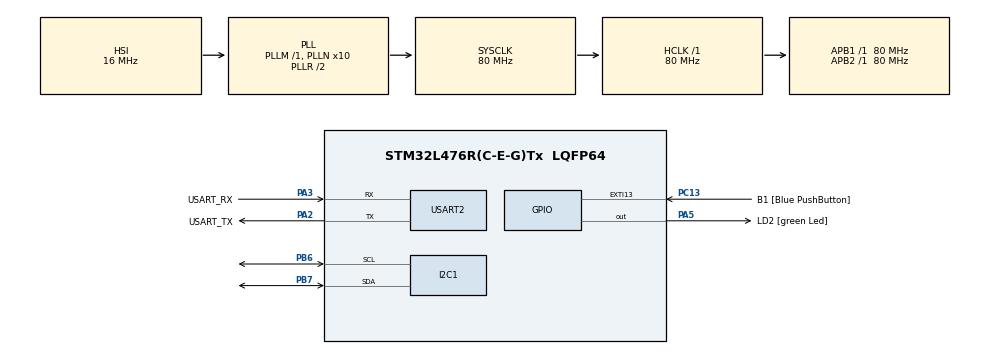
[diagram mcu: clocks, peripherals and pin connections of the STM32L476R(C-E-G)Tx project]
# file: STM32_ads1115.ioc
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I2C1.Timing=0x10D19CE4
Mcu.Family=STM32L4
Mcu.Name=STM32L476R(C-E-G)Tx
Mcu.Package=LQFP64
NVIC.PriorityGroup=NVIC_PRIORITYGROUP_4
PA13\ (JTMS-SWDIO).GPIO_Label=TMS
PA13\ (JTMS-SWDIO).Mode=Serial_Wire
PA13\ (JTMS-SWDIO).Signal=SYS_JTMS-SWDIO
PA14\ (JTCK-SWCLK).GPIO_Label=TCK
PA14\ (JTCK-SWCLK).Mode=Serial_Wire
PA14\ (JTCK-SWCLK).Signal=SYS_JTCK-SWCLK
PA2.GPIO_Label=USART_TX
PA2.GPIO_Mode=GPIO_MODE_AF_PP
PA2.GPIO_PuPd=GPIO_NOPULL
PA2.GPIO_Speed=GPIO_SPEED_FREQ_VERY_HIGH
PA2.Mode=Asynchronous
PA2.Signal=USART2_TX
PA3.GPIO_Label=USART_RX
PA3.GPIO_Mode=GPIO_MODE_AF_PP
PA3.GPIO_PuPd=GPIO_NOPULL
PA3.GPIO_Speed=GPIO_SPEED_FREQ_VERY_HIGH
PA3.Mode=Asynchronous
PA3.Signal=USART2_RX
PA5.GPIO_Label=LD2 [green Led]
PA5.GPIO_ModeDefaultOutputPP=GPIO_MODE_OUTPUT_PP
PA5.GPIO_PuPd=GPIO_NOPULL
PA5.GPIO_Speed=GPIO_SPEED_FREQ_LOW
PA5.Signal=GPIO_Output
PB3\ (JTDO-TRACESWO).GPIO_Label=SWO
PB3\ (JTDO-TRACESWO).Signal=SYS_JTDO-SWO
PB6.Mode=I2C
PB6.Signal=I2C1_SCL
PB7.Mode=I2C
PB7.Signal=I2C1_SDA
PC13.GPIO_Label=B1 [Blue PushButton]
PC13.GPIO_ModeDefaultEXTI=GPIO_MODE_IT_FALLING
PC13.GPIO_PuPd=GPIO_NOPULL
PC13.Signal=GPXTI13
PC14-OSC32_IN\ (PC14).Mode=LSE-External-Oscillator
PC14-OSC32_IN\ (PC14).Signal=RCC_OSC32_IN
PC15-OSC32_OUT\ (PC15).Mode=LSE-External-Oscillator
PC15-OSC32_OUT\ (PC15).Signal=RCC_OSC32_OUT
PH0-OSC_IN\ (PH0).Signal=RCC_OSC_IN
PH1-OSC_OUT\ (PH1).Signal=RCC_OSC_OUT
ProjectManager.HeapSize=0x200
ProjectManager.StackSize=0x400
ProjectManager.TargetToolchain=STM32CubeIDE
RCC.ADCFreq_Value=64000000
RCC.AHBFreq_Value=80000000
RCC.APB1Freq_Value=80000000
RCC.APB1TimFreq_Value=80000000
RCC.APB2Freq_Value=80000000
RCC.APB2TimFreq_Value=80000000
RCC.CortexFreq_Value=80000000
RCC.HCLKFreq_Value=80000000
RCC.HSE_VALUE=8000000
RCC.HSI_VALUE=16000000
RCC.MSI_VALUE=4000000
RCC.PLLN=10
RCC.PLLSourceVirtual=RCC_PLLSOURCE_HSI
RCC.PREFETCH_ENABLE=1
RCC.SYSCLKFreq_VALUE=80000000
RCC.SYSCLKSource=RCC_SYSCLKSOURCE_PLLCLK
RCC.USBFreq_Value=64000000
RCC.VCOOutputFreq_Value=160000000
USART2.VirtualMode-Asynchronous=VM_ASYNC
board=NUCLEO-L476RG

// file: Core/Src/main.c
/* USER CODE BEGIN Header */
/**
  ******************************************************************************
  * @file           : main.c
  * @brief          : Main program body
  ******************************************************************************
  * @attention
  *
  * Copyright (c) 2026 STMicroelectronics.
  * All rights reserved.
  *
  * This software is licensed under terms that can be found in the LICENSE file
  * in the root directory of this software component.
  * If no LICENSE file comes with this software, it is provided AS-IS.
  *
  ******************************************************************************
  */
/* USER CODE END Header */
#include "main.h"

/* USER CODE BEGIN Includes */
#include "ads1115.h"
#include <stdio.h>
/* USER CODE END Includes */

I2C_HandleTypeDef hi2c1;

UART_HandleTypeDef huart2;

/* USER CODE BEGIN PV */
static const uint16_t channels[] = {
    ADS1115_MUX_SINGLE_0,
    ADS1115_MUX_SINGLE_1,
    ADS1115_MUX_SINGLE_2,
    ADS1115_MUX_SINGLE_3,
};

static const char *channel_names[] = {
    "AIN0", "AIN1", "AIN2", "AIN3",
};

#define NUM_CHANNELS  (sizeof(channels) / sizeof(channels[0]))
/* USER CODE END PV */

void SystemClock_Config(void);
static void MX_GPIO_Init(void);
static void MX_I2C1_Init(void);
static void MX_USART2_UART_Init(void);

/* USER CODE BEGIN 0 */

/* Printf retargeting over UART2 */
int _write(int file, char *ptr, int len){
    HAL_UART_Transmit(&huart2, (uint8_t *)ptr, len, HAL_MAX_DELAY);
    return len;
}

/* USER CODE END 0 */

int main(void)
{

  /* MCU Configuration--------------------------------------------------------*/

  /* Reset of all peripherals, Initializes the Flash interface and the Systick. */
  HAL_Init();

  /* Configure the system clock */
  SystemClock_Config();

  /* Initialize all configured peripherals */
  MX_GPIO_Init();
  MX_I2C1_Init();
  MX_USART2_UART_Init();

  /* USER CODE BEGIN 2 */

  /* ---- ADS1115 Configuration ---- */
	ADS1115_Config cfg = {
		.mux       = ADS1115_MUX_SINGLE_0,
		.pga       = ADS1115_PGA_4_096V,
		.mode      = ADS1115_MODE_SINGLE,
		.dr        = ADS1115_DR_128SPS,
		.comp_mode = ADS1115_COMP_MODE_TRAD,
		.comp_pol  = ADS1115_COMP_POL_LOW,
		.comp_lat  = ADS1115_COMP_LAT_OFF,
		.comp_que  = ADS1115_COMP_QUE_DISABLE,
	};

	uint16_t addr = ADS1115_ADDR_GND;

	printf("\r\n--- ADS1115 Continuous Read Test ---\r\n");
	printf("PGA: +/-4.096V | Data Rate: 128 SPS\r\n\r\n");

	/* Verify device is present */
	if (HAL_I2C_IsDeviceReady(&hi2c1, addr, 3, 100) != HAL_OK) {
	  printf("ERROR: ADS1115 not found at 0x%02X\r\n", addr >> 1);
	  while (1);
	}
	printf("ADS1115 found at 0x%02X\r\n\r\n", addr >> 1);

	HAL_StatusTypeDef status;
	int16_t raw;
	float mv;

  /* USER CODE END 2 */

  /* Infinite loop */
  /* USER CODE BEGIN WHILE */
  while (1){
	for (uint8_t ch = 0; ch < NUM_CHANNELS; ch++) {
		/* Switch channel and trigger conversion */
		cfg.mux = channels[ch];
		status = ADS1115_ReadSingleShot(&hi2c1, addr, &cfg, &raw);

		if (status == HAL_OK) {
			mv = ADS1115_ConvertToMillivolts(raw, cfg.pga);
			printf("%s: raw=%6d  %8.3f mV\r\n", channel_names[ch], raw, mv);
		} else if (status == HAL_TIMEOUT) {
			printf("%s: TIMEOUT\r\n", channel_names[ch]);
		} else {
			printf("%s: I2C ERROR (0x%02X)\r\n", channel_names[ch], status);
		}
	}

		printf("----\r\n");
		HAL_Delay(500);
	  /* USER CODE END WHILE */

  }
}

void SystemClock_Config(void)
{
  RCC_OscInitTypeDef RCC_OscInitStruct = {0};
  RCC_ClkInitTypeDef RCC_ClkInitStruct = {0};

  /** Configure the main internal regulator output voltage
  */
  if (HAL_PWREx_ControlVoltageScaling(PWR_REGULATOR_VOLTAGE_SCALE1) != HAL_OK)
  {
    Error_Handler();
  }

  /** Initializes the RCC Oscillators according to the specified parameters
  * in the RCC_OscInitTypeDef structure.
  */
  RCC_OscInitStruct.OscillatorType = RCC_OSCILLATORTYPE_HSI;
  RCC_OscInitStruct.HSIState = RCC_HSI_ON;
  RCC_OscInitStruct.HSICalibrationValue = RCC_HSICALIBRATION_DEFAULT;
  RCC_OscInitStruct.PLL.PLLState = RCC_PLL_ON;
  RCC_OscInitStruct.PLL.PLLSource = RCC_PLLSOURCE_HSI;
  RCC_OscInitStruct.PLL.PLLM = 1;
  RCC_OscInitStruct.PLL.PLLN = 10;
  RCC_OscInitStruct.PLL.PLLP = RCC_PLLP_DIV7;
  RCC_OscInitStruct.PLL.PLLQ = RCC_PLLQ_DIV2;
  RCC_OscInitStruct.PLL.PLLR = RCC_PLLR_DIV2;
  if (HAL_RCC_OscConfig(&RCC_OscInitStruct) != HAL_OK)
  {
    Error_Handler();
  }

  /** Initializes the CPU, AHB and APB buses clocks
  */
  RCC_ClkInitStruct.ClockType = RCC_CLOCKTYPE_HCLK|RCC_CLOCKTYPE_SYSCLK
                              |RCC_CLOCKTYPE_PCLK1|RCC_CLOCKTYPE_PCLK2;
  RCC_ClkInitStruct.SYSCLKSource = RCC_SYSCLKSOURCE_PLLCLK;
  RCC_ClkInitStruct.AHBCLKDivider = RCC_SYSCLK_DIV1;
  RCC_ClkInitStruct.APB1CLKDivider = RCC_HCLK_DIV1;
  RCC_ClkInitStruct.APB2CLKDivider = RCC_HCLK_DIV1;

  if (HAL_RCC_ClockConfig(&RCC_ClkInitStruct, FLASH_LATENCY_4) != HAL_OK)
  {
    Error_Handler();
  }
}

static void MX_I2C1_Init(void)
{

  hi2c1.Instance = I2C1;
  hi2c1.Init.Timing = 0x10D19CE4;
  hi2c1.Init.OwnAddress1 = 0;
  hi2c1.Init.AddressingMode = I2C_ADDRESSINGMODE_7BIT;
  hi2c1.Init.DualAddressMode = I2C_DUALADDRESS_DISABLE;
  hi2c1.Init.OwnAddress2 = 0;
  hi2c1.Init.OwnAddress2Masks = I2C_OA2_NOMASK;
  hi2c1.Init.GeneralCallMode = I2C_GENERALCALL_DISABLE;
  hi2c1.Init.NoStretchMode = I2C_NOSTRETCH_DISABLE;
  if (HAL_I2C_Init(&hi2c1) != HAL_OK)
  {
    Error_Handler();
  }

  /** Configure Analogue filter
  */
  if (HAL_I2CEx_ConfigAnalogFilter(&hi2c1, I2C_ANALOGFILTER_ENABLE) != HAL_OK)
  {
    Error_Handler();
  }

  /** Configure Digital filter
  */
  if (HAL_I2CEx_ConfigDigitalFilter(&hi2c1, 0) != HAL_OK)
  {
    Error_Handler();
  }

}

static void MX_USART2_UART_Init(void)
{

  huart2.Instance = USART2;
  huart2.Init.BaudRate = 115200;
  huart2.Init.WordLength = UART_WORDLENGTH_8B;
  huart2.Init.StopBits = UART_STOPBITS_1;
  huart2.Init.Parity = UART_PARITY_NONE;
  huart2.Init.Mode = UART_MODE_TX_RX;
  huart2.Init.HwFlowCtl = UART_HWCONTROL_NONE;
  huart2.Init.OverSampling = UART_OVERSAMPLING_16;
  huart2.Init.OneBitSampling = UART_ONE_BIT_SAMPLE_DISABLE;
  huart2.AdvancedInit.AdvFeatureInit = UART_ADVFEATURE_NO_INIT;
  if (HAL_UART_Init(&huart2) != HAL_OK)
  {
    Error_Handler();
  }

}

static void MX_GPIO_Init(void)
{
  GPIO_InitTypeDef GPIO_InitStruct = {0};

  /* GPIO Ports Clock Enable */
  __HAL_RCC_GPIOC_CLK_ENABLE();
  __HAL_RCC_GPIOH_CLK_ENABLE();
  __HAL_RCC_GPIOA_CLK_ENABLE();
  __HAL_RCC_GPIOB_CLK_ENABLE();

  /*Configure GPIO pin Output Level */
  HAL_GPIO_WritePin(LD2_GPIO_Port, LD2_Pin, GPIO_PIN_RESET);

  /*Configure GPIO pin : B1_Pin */
  GPIO_InitStruct.Pin = B1_Pin;
  GPIO_InitStruct.Mode = GPIO_MODE_IT_FALLING;
  GPIO_InitStruct.Pull = GPIO_NOPULL;
  HAL_GPIO_Init(B1_GPIO_Port, &GPIO_InitStruct);

  /*Configure GPIO pin : LD2_Pin */
  GPIO_InitStruct.Pin = LD2_Pin;
  GPIO_InitStruct.Mode = GPIO_MODE_OUTPUT_PP;
  GPIO_InitStruct.Pull = GPIO_NOPULL;
  GPIO_InitStruct.Speed = GPIO_SPEED_FREQ_LOW;
  HAL_GPIO_Init(LD2_GPIO_Port, &GPIO_InitStruct);

}

void Error_Handler(void)
{
  __disable_irq();
  while (1)
  {
  }
}
